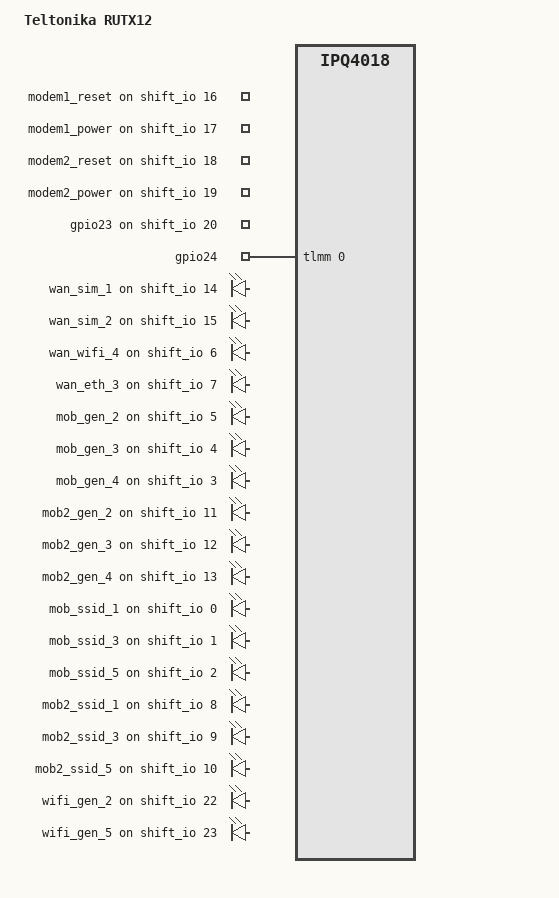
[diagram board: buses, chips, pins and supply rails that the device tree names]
#include "qcom-ipq4018-rutx-common.dtsi"
#include "qcom-ipq4018-rutx-shiftreg.dtsi"

/ {
	model = "Teltonika RUTX12";

	soc {
		gpio-export {
			compatible = "gpio-export";
			#size-cells = <0>;

			gpio_modem_reset {
				gpio-export,name = "modem1_reset";
				gpio-export,output = <0>;
				gpios = <&shift_io 16 GPIO_ACTIVE_HIGH>;
			};

			gpio_modem_power {
				gpio-export,name = "modem1_power";
				gpio-export,output = <0>;
				gpios = <&shift_io 17 GPIO_ACTIVE_HIGH>;
			};

			gpio_modem2_reset {
				gpio-export,name = "modem2_reset";
				gpio-export,output = <0>;
				gpios = <&shift_io 18 GPIO_ACTIVE_HIGH>;
			};

			gpio_modem2_power {
				gpio-export,name = "modem2_power";
				gpio-export,output = <0>;
				gpios = <&shift_io 19 GPIO_ACTIVE_HIGH>;
			};

			gpio_out_1 {
				gpio-export,name = "gpio23";
				gpio-export,output = <0>;
				gpios = <&shift_io 20 GPIO_ACTIVE_HIGH>;
			};

			gpio_in_1 {
				gpio-export,name = "gpio24";
				gpio-export,input = <0>;
				gpios = <&tlmm 0 GPIO_ACTIVE_HIGH>;
			};
		};

		leds {
			compatible = "gpio-leds";

			led_wan_sim1 {
				label = "wan_sim_1";
				gpios = <&shift_io 14 GPIO_ACTIVE_HIGH>;
			};

			led_wan_sim2 {
				label = "wan_sim_2";
				gpios = <&shift_io 15 GPIO_ACTIVE_HIGH>;
			};

			led_wan_eth {
				label = "wan_wifi_4"; // not wan_eth_3 !
				gpios = <&shift_io 6 GPIO_ACTIVE_HIGH>;
			};

			led_wan_wifi {
				label = "wan_eth_3"; // not wan_wifi_4 !
				gpios = <&shift_io 7 GPIO_ACTIVE_HIGH>;
			};

			led_gen_2 {
				label = "mob_gen_2";
				gpios = <&shift_io 5 GPIO_ACTIVE_HIGH>;
			};

			led_gen_3 {
				label = "mob_gen_3";
				gpios = <&shift_io 4 GPIO_ACTIVE_HIGH>;
			};

			led_gen_4 {
				label = "mob_gen_4";
				gpios = <&shift_io 3 GPIO_ACTIVE_HIGH>;
			};

			led2_gen_2 {
				label = "mob2_gen_2";
				gpios = <&shift_io 11 GPIO_ACTIVE_HIGH>;
			};

			led2_gen_3 {
				label = "mob2_gen_3";
				gpios = <&shift_io 12 GPIO_ACTIVE_HIGH>;
			};

			led2_gen_4 {
				label = "mob2_gen_4";
				gpios = <&shift_io 13 GPIO_ACTIVE_HIGH>;
			};

			led_ssid_1 {
				label = "mob_ssid_1";
				gpios = <&shift_io 0 GPIO_ACTIVE_HIGH>;
				linux,default-trigger = "timer";
			};

			led_ssid_3 {
				label = "mob_ssid_3";
				gpios = <&shift_io 1 GPIO_ACTIVE_HIGH>;
				linux,default-trigger = "timer";
			};

			led_ssid_5 {
				label = "mob_ssid_5";
				gpios = <&shift_io 2 GPIO_ACTIVE_HIGH>;
				linux,default-trigger = "timer";
			};

			led2_ssid_1 {
				label = "mob2_ssid_1";
				gpios = <&shift_io 8 GPIO_ACTIVE_HIGH>;
				linux,default-trigger = "timer";
			};

			led2_ssid_3 {
				label = "mob2_ssid_3";
				gpios = <&shift_io 9 GPIO_ACTIVE_HIGH>;
				linux,default-trigger = "timer";
			};

			led2_ssid_5 {
				label = "mob2_ssid_5";
				gpios = <&shift_io 10 GPIO_ACTIVE_HIGH>;
				linux,default-trigger = "timer";
			};

			led_wifi_24 {
				label = "wifi_gen_2";
				gpios = <&shift_io 22 GPIO_ACTIVE_HIGH>;
			};

			led_wifi_50 {
				label = "wifi_gen_5";
				gpios = <&shift_io 23 GPIO_ACTIVE_HIGH>;
			};
		};
	};
};
